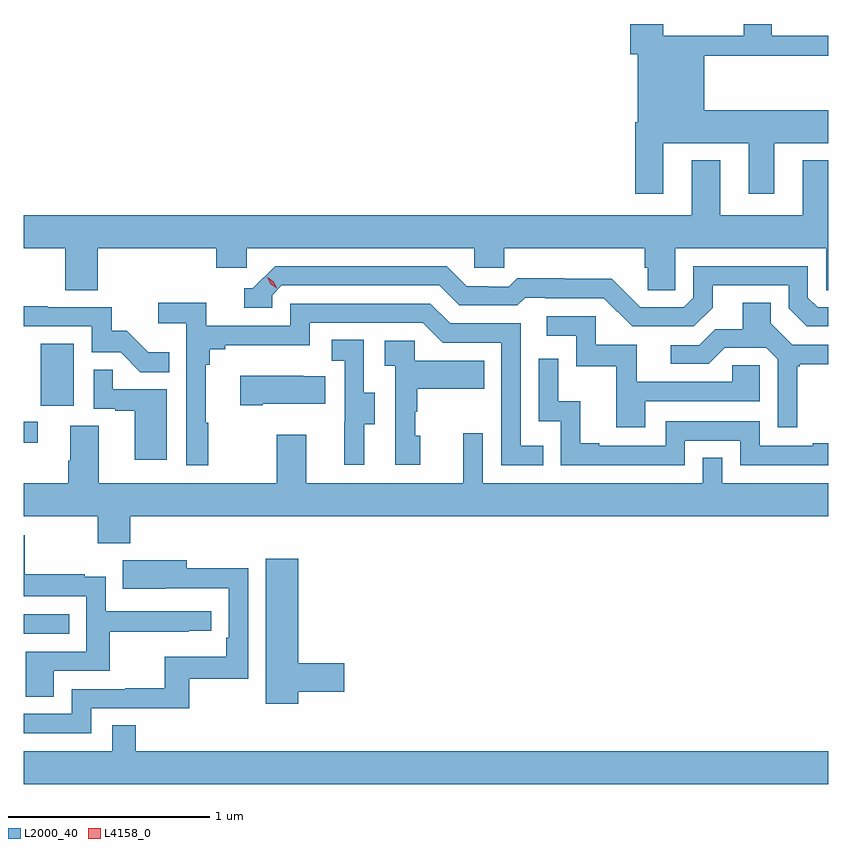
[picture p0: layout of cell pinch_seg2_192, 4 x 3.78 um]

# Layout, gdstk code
import gdstk
lib = gdstk.Library(unit=1e-6, precision=1e-09)
def R(c, l, rs):  # rectangles x0, y0, x1, y1
    for r in rs: c.add(gdstk.rectangle(r[:2], r[2:], *l))
def P(c, l, *ps):  # polygons
    for p in ps: c.add(gdstk.Polygon(p, *l))
L2000_40 = (2000, 40)
L4158_0 = (4158, 0)

pinch_seg2_192 = lib.new_cell('pinch_seg2_192')
R(pinch_seg2_192, L2000_40, [(986.191,659.04,986.417,659.136), (986.191,659.988,986.26,660.093), (986.276,660.174,986.44,660.481)])
P(pinch_seg2_192, L2000_40, [(989.371,661.478),(989.795,661.478),(989.795,661.227),(989.923,661.227),(989.923,661.478),(990.191,661.478),(990.191,661.642),(989.575,661.642),(989.575,661.912),(990.191,661.912),(990.191,662.013),(989.911,662.013),(989.911,662.071),(989.771,662.071),(989.771,662.013),(989.371,662.013),(989.371,662.071),(989.207,662.071),(989.207,661.92),(989.243,661.92),(989.243,661.582),(989.231,661.582),(989.231,661.227),(989.371,661.227)],
  [(986.558,660.956),(987.149,660.956),(987.149,660.858),(987.3,660.858),(987.3,660.956),(988.431,660.956),(988.431,660.858),(988.581,660.858),(988.581,660.956),(989.279,660.956),(989.279,660.858),(989.293,660.858),(989.293,660.748),(989.43,660.748),(989.43,660.956),(990.18,660.956),(990.18,660.748),(990.191,660.748),(990.191,661.393),(990.065,661.393),(990.065,661.12),(989.653,661.12),(989.653,661.393),(989.513,661.393),(989.513,661.12),(986.191,661.12),(986.191,660.956),(986.398,660.956),(986.398,660.748),(986.558,660.748)],
  [(989.617,660.661),(989.617,660.771),(989.994,660.771),(989.994,660.657),(990.084,660.567),(990.191,660.567),(990.191,660.663),(990.138,660.663),(990.09,660.711),(990.09,660.867),(989.52,660.867),(989.52,660.711),(989.472,660.663),(989.256,660.663),(989.114,660.805),(988.878,660.805),(988.878,660.808),(988.645,660.808),(988.603,660.765),(988.5,660.765),(988.5,660.768),(988.393,660.768),(988.294,660.867),(987.441,660.867),(987.33,660.756),(987.287,660.756),(987.287,660.66),(987.426,660.66),(987.426,660.723),(987.474,660.771),(988.257,660.771),(988.356,660.672),(988.645,660.672),(988.684,660.711),(988.783,660.711),(988.783,660.708),(989.076,660.708),(989.217,660.567),(989.523,660.567)],
  [(987.109,660.089),(987.097,660.089),(987.097,660.377),(987.116,660.377),(987.116,660.454),(987.193,660.454),(987.193,660.473),(987.612,660.473),(987.612,660.585),(988.176,660.585),(988.275,660.486),(988.566,660.486),(988.566,659.877),(988.775,659.877),(988.775,659.973),(988.662,659.973),(988.662,660.582),(988.312,660.582),(988.213,660.681),(987.516,660.681),(987.516,660.57),(987.098,660.57),(987.098,660.686),(986.859,660.686),(986.859,660.584),(987,660.584),(987,659.877),(987.109,659.877)],
  [(990.037,660.369),(990.049,660.369),(990.049,660.38),(990.191,660.38),(990.191,660.477),(990.012,660.477),(989.905,660.584),(989.905,660.686),(989.765,660.686),(989.765,660.554),(989.63,660.554),(989.55,660.474),(989.409,660.474),(989.409,660.381),(989.596,660.381),(989.677,660.462),(989.883,660.462),(989.94,660.405),(989.94,660.066),(990.037,660.066)],
  [(986.915,660.439),(986.811,660.439),(986.704,660.546),(986.628,660.546),(986.628,660.663),(986.309,660.663),(986.309,660.668),(986.191,660.668),(986.191,660.567),(986.529,660.567),(986.529,660.438),(986.673,660.438),(986.771,660.34),(986.915,660.34)],
  [(989.281,660.195),(989.85,660.195),(989.85,660.375),(989.713,660.375),(989.713,660.291),(989.239,660.291),(989.239,660.477),(989.034,660.477),(989.034,660.618),(988.791,660.618),(988.791,660.522),(988.938,660.522),(988.938,660.369),(989.137,660.369),(989.137,660.066),(989.281,660.066)],
  [(987.883,660.082),(987.937,660.082),(987.937,660.237),(987.882,660.237),(987.882,660.5),(987.723,660.5),(987.723,660.397),(987.786,660.397),(987.786,660.093),(987.785,660.093),(987.785,659.88),(987.883,659.88)],
  [(988.162,660.024),(988.137,660.024),(988.137,660.143),(988.147,660.143),(988.147,660.257),(988.481,660.257),(988.481,660.397),(988.134,660.397),(988.134,660.495),(987.987,660.495),(987.987,660.371),(988.038,660.371),(988.038,659.88),(988.162,659.88)],
  [(989.478,660),(989.754,660),(989.754,659.877),(990.191,659.877),(990.191,659.986),(990.113,659.986),(990.113,659.973),(989.85,659.973),(989.85,660.096),(989.382,660.096),(989.382,659.973),(989.053,659.973),(989.053,659.986),(988.958,659.986),(988.958,660.194),(988.848,660.194),(988.848,660.406),(988.752,660.406),(988.752,660.096),(988.86,660.096),(988.86,659.877),(989.478,659.877)],
  [(986.902,660.255),(986.633,660.255),(986.633,660.353),(986.538,660.353),(986.538,660.159),(986.645,660.159),(986.645,660.147),(986.744,660.147),(986.744,659.904),(986.902,659.904)],
  [(987.379,660.182),(987.689,660.182),(987.689,660.319),(987.581,660.319),(987.581,660.322),(987.267,660.322),(987.267,660.175),(987.379,660.175)],
  [(986.72,659.624),(990.191,659.624),(990.191,659.788),(989.664,659.788),(989.664,659.915),(989.568,659.915),(989.568,659.788),(988.473,659.788),(988.473,660.037),(988.376,660.037),(988.376,659.788),(987.595,659.788),(987.595,660.028),(987.448,660.028),(987.448,659.788),(986.563,659.788),(986.563,660.074),(986.423,660.074),(986.423,659.9),(986.411,659.9),(986.411,659.788),(986.191,659.788),(986.191,659.624),(986.56,659.624),(986.56,659.489),(986.72,659.489)],
  [(986.341,658.854),(986.618,658.854),(986.618,659.05),(987.011,659.05),(987.011,659.055),(987.124,659.055),(987.124,659.151),(986.598,659.151),(986.598,659.323),(986.495,659.323),(986.495,659.335),(986.197,659.335),(986.197,659.529),(986.191,659.529),(986.191,659.226),(986.502,659.226),(986.502,658.95),(986.201,658.95),(986.201,658.726),(986.341,658.726)],
  [(987.556,658.75),(987.784,658.75),(987.784,658.892),(987.556,658.892),(987.556,659.413),(987.395,659.413),(987.395,658.692),(987.556,658.692)],
  [(986.526,658.668),(987.013,658.668),(987.013,658.815),(987.306,658.815),(987.306,659.366),(987.001,659.366),(987.001,659.404),(986.683,659.404),(986.683,659.264),(986.897,659.264),(986.897,659.265),(987.21,659.265),(987.21,659.02),(987.197,659.02),(987.197,658.924),(986.892,658.924),(986.892,658.769),(986.695,658.769),(986.695,658.764),(986.43,658.764),(986.43,658.641),(986.191,658.641),(986.191,658.545),(986.526,658.545)],
  [(990.191,658.456),(986.747,658.456),(986.747,658.583),(986.631,658.583),(986.631,658.456),(986.191,658.456),(986.191,658.292),(990.191,658.292)])
P(pinch_seg2_192, L4158_0, [(987.45,660.757),(987.42,660.777),(987.404,660.81),(987.404,660.811),(987.405,660.811),(987.435,660.79),(987.45,660.758),(987.45,660.757)])

lib.write_gds('pinch_seg2_192.gds')
